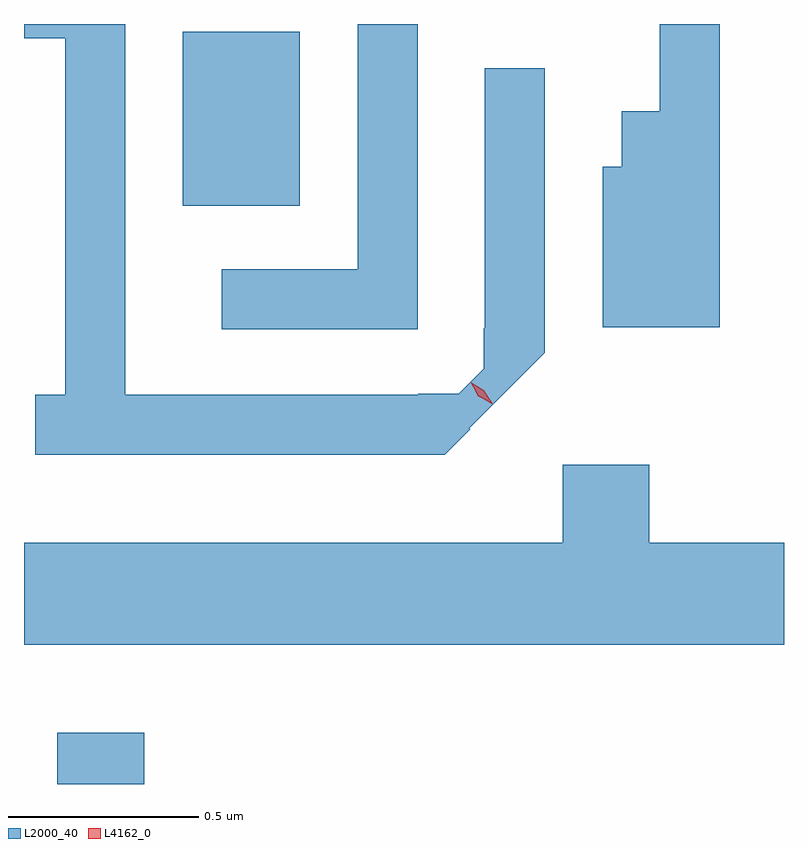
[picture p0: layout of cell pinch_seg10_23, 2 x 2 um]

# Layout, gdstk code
import gdstk
lib = gdstk.Library(unit=1e-6, precision=1e-09)
def R(c, l, rs):  # rectangles x0, y0, x1, y1
    for r in rs: c.add(gdstk.rectangle(r[:2], r[2:], *l))
def P(c, l, *ps):  # polygons
    for p in ps: c.add(gdstk.Polygon(p, *l))
L2000_40 = (2000, 40)
L4162_0 = (4162, 0)

pinch_seg10_23 = lib.new_cell('pinch_seg10_23')
R(pinch_seg10_23, L2000_40, [(828.701,2175.709,828.929,2175.844), (829.031,2177.231,829.339,2177.689)])
P(pinch_seg10_23, L2000_40, [(829.649,2177.709),(829.491,2177.709),(829.491,2177.064),(829.133,2177.064),(829.133,2176.906),(829.649,2176.906)],
  [(829.787,2176.643),(829.785,2176.645),(829.984,2176.844),(829.984,2177.593),(829.826,2177.593),(829.826,2176.909),(829.823,2176.909),(829.823,2176.802),(829.757,2176.736),(829.651,2176.736),(829.651,2176.734),(828.879,2176.734),(828.879,2177.709),(828.613,2177.709),(828.613,2177.671),(828.721,2177.671),(828.721,2176.734),(828.643,2176.734),(828.643,2176.576),(829.72,2176.576)],
  [(830.444,2177.709),(830.286,2177.709),(830.286,2177.479),(830.186,2177.479),(830.186,2177.334),(830.136,2177.334),(830.136,2176.911),(830.444,2176.911)],
  [(830.613,2176.344),(830.259,2176.344),(830.259,2176.549),(830.031,2176.549),(830.031,2176.344),(828.613,2176.344),(828.613,2176.076),(830.613,2176.076)])
P(pinch_seg10_23, L4162_0, [(829.844,2176.71),(829.809,2176.731),(829.788,2176.766),(829.788,2176.766),(829.788,2176.766),(829.823,2176.745),(829.845,2176.711),(829.845,2176.71)],
  [(829.839,2176.714),(829.809,2176.73),(829.792,2176.76),(829.792,2176.761),(829.792,2176.761),(829.822,2176.745),(829.84,2176.715),(829.84,2176.714)])

lib.write_gds('pinch_seg10_23.gds')
